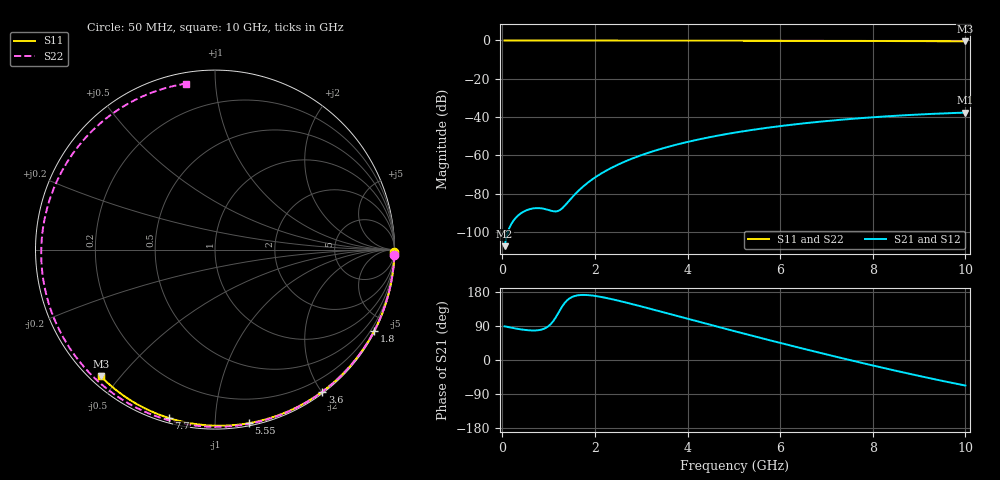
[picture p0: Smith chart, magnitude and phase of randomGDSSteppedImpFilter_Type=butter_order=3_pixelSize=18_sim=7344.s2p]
! freq	dB(S11)	phase(S11)	dB(S12)	phase(S12)
!  dB(S21)	phase(S21)	dB(S22)	phase(S22)
!S-par simulation data
#  GHz  S  DB  R 50
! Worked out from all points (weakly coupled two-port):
!   200 points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, 50 MHz to 10 GHz, reference 50 ohm
!   highest |S21| = -37.68 dB at 10 GHz (marker M1); lowest = -107.4 dB at 50 MHz (marker M2)
!   lowest |S11| = -0.4 dB at 10 GHz (marker M3), VSWR 39.06, Z = 1.53 - j22.2 ohm
!   |S11| at or under -10 dB: nowhere
!   |S22| runs from -0.5 to 0.0 dB; largest |S21 - S12| = 0
!   S11 on the Smith chart (normalised r, x): 50 MHz: open; 1.8 GHz: 0.04, -4.16; 3.6 GHz: 0.02, -2.01; 5.55 GHz: 0.02, -1.21; 7.7 GHz: 0.02, -0.76; 10 GHz: 0.03, -0.44
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0.05  -0.00 -0.8  -107.45 88.9  -107.45 88.9  -0.00 -1.8
0.4  -0.01 -6.1  -90.31 80.9  -90.31 80.9  -0.02 -14.1
0.75  -0.01 -11.4  -87.57 78.3  -87.57 78.3  -0.03 -26.3
1.15  -0.02 -17.4  -89.31 111.6  -89.31 111.6  -0.05 -39.9
1.55  -0.03 -23.3  -80.84 168.3  -80.84 168.3  -0.07 -53.1
1.6  -0.03 -24.1  -79.58 170.0  -79.58 170.0  -0.07 -54.7
1.75  -0.03 -26.3  -76.19 171.7  -76.19 171.7  -0.07 -59.5
1.8  -0.03 -27.0  -75.18 171.6  -75.18 171.6  -0.08 -61.1
2.1  -0.04 -31.4  -70.03 167.2  -70.03 167.2  -0.09 -70.4
2.45  -0.05 -36.5  -65.42 158.2  -65.42 158.2  -0.10 -80.9
2.9  -0.06 -43.0  -60.82 144.6  -60.82 144.6  -0.11 -93.8
3.4  -0.07 -50.1  -56.81 128.5  -56.81 128.5  -0.13 -107.4
3.6  -0.07 -52.9  -55.44 122.0  -55.44 122.0  -0.14 -112.6
4.35  -0.09 -63.1  -51.15 97.5  -51.15 97.5  -0.17 -131.3
5.05  -0.11 -72.5  -48.03 75.0  -48.03 75.0  -0.20 -147.8
5.55  -0.13 -79.0  -46.18 59.1  -46.18 59.1  -0.22 -159.1
6.1  -0.15 -85.9  -44.44 42.0  -44.44 42.0  -0.26 -171.3
6.7  -0.18 -93.4  -42.82 23.7  -42.82 23.7  -0.29 175.6
7.7  -0.24 -105.4  -40.65 -5.8  -40.65 -5.8  -0.37 153.7
8.35  -0.29 -113.1  -39.55 -24.3  -39.55 -24.3  -0.42 139.1
9.2  -0.36 -122.9  -38.44 -47.3  -38.44 -47.3  -0.48 119.4
10  -0.44 -132.0  -37.68 -67.5  -37.68 -67.5  -0.55 100.0
